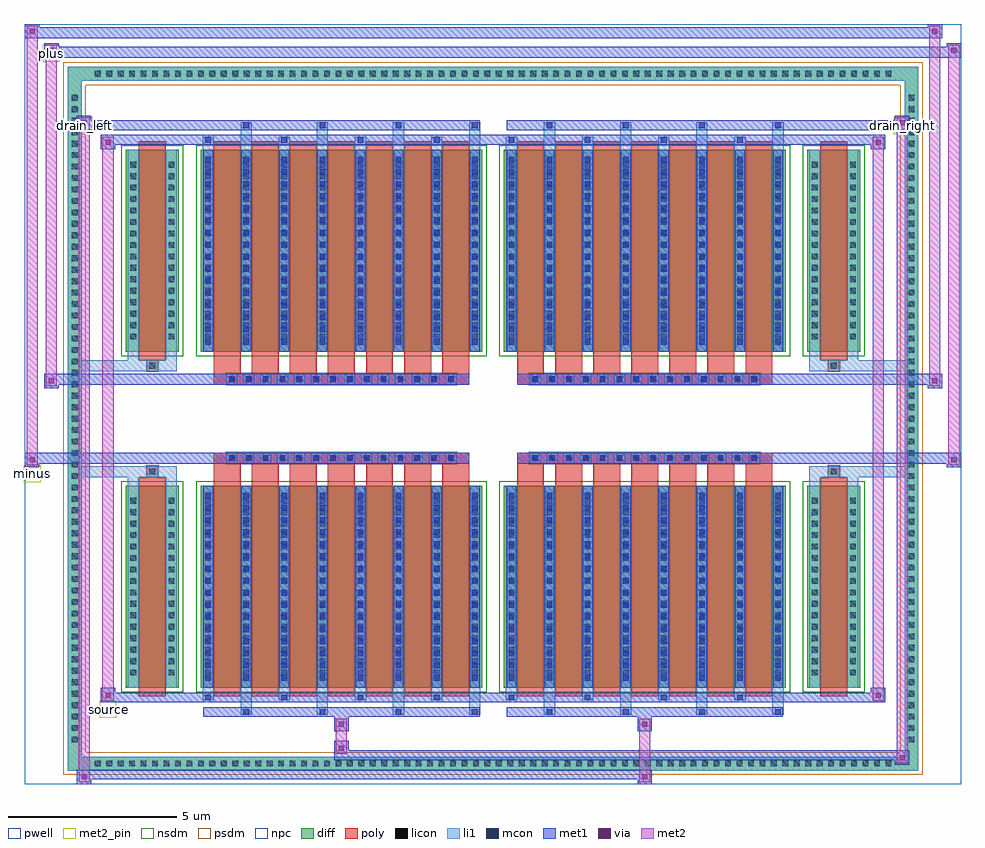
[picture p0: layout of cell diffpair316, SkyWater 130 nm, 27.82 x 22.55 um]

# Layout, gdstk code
import gdstk
lib = gdstk.Library(unit=1e-6, precision=5e-09)
def R(c, l, rs):  # rectangles x0, y0, x1, y1
    for r in rs: c.add(gdstk.rectangle(r[:2], r[2:], *l))
def A(c, l, x, y, w, h, nx, ny, dx, dy):  # array of equal rectangles
    R(c, l, [(x+i*dx, y+j*dy, x+i*dx+w, y+j*dy+h) for i in range(nx) for j in range(ny)])
def P(c, l, *ps):  # polygons
    for p in ps: c.add(gdstk.Polygon(p, *l))
pwell = (64, 44)
diff = (65, 20)
poly = (66, 20)
licon = (66, 44)
li1 = (67, 20)
mcon = (67, 44)
met1 = (68, 20)
via = (68, 44)
met2_pin = (69, 16)
met2 = (69, 20)
nsdm = (93, 44)
psdm = (94, 20)
npc = (95, 20)

diffpair316 = lib.new_cell('diffpair316')
R(diffpair316, pwell, [(-13.89,-10.84,13.89,11.71), (-11.21,-9.03,-0.01,-0.805), (0.01,-9.03,11.21,-0.805), (-11.21,0.805,-0.01,9.03), (0.01,0.805,11.21,9.03)])
A(diffpair316, diff, -11.935, -10.44, 0.41, 0.41, 70, 2, 0.34, 20.47)
A(diffpair316, diff, -12.62, -9.725, 0.41, 0.41, 1, 57, 0, 0.34)
A(diffpair316, diff, 12.21, -9.725, 0.41, 0.41, 1, 57, 0, 0.34)
R(diffpair316, diff, [(-11.935,-10.44,11.935,-10.03), (-12.62,-9.725,-12.21,9.725), (12.21,-9.725,12.62,9.725), (-10.9,-7.985,-9.32,-1.985), (-8.68,-7.985,-0.32,-1.985), (0.32,-7.985,8.68,-1.985), (9.32,-7.985,10.9,-1.985), (-10.9,1.985,-9.32,7.985), (-8.68,1.985,-0.32,7.985), (0.32,1.985,8.68,7.985), (9.32,1.985,10.9,7.985), (-11.935,10.03,11.935,10.44)])
P(diffpair316, diff, [(12.62,10.44),(-12.62,10.44),(-12.62,-10.03),(-12.21,-10.03),(-12.21,10.03),(12.21,10.03),(12.21,-10.03),(-12.21,-10.03),(-12.62,-10.03),(-12.62,-10.44),(12.62,-10.44)])
A(diffpair316, poly, -8.29, -8.235, 0.8, 6.5, 7, 2, 1.13, 9.97)
A(diffpair316, poly, 0.71, -8.235, 0.8, 6.5, 7, 2, 1.13, 9.97)
A(diffpair316, poly, -8.29, -1.735, 0.8, 0.4, 7, 2, 1.13, 3.07)
A(diffpair316, poly, 0.71, -1.735, 0.8, 0.4, 7, 2, 1.13, 3.07)
A(diffpair316, poly, -7.915, -1.335, 0.33, 0.33, 14, 2, 0.5, 2.34)
A(diffpair316, poly, 1.085, -1.335, 0.33, 0.33, 14, 2, 0.5, 2.34)
R(diffpair316, poly, [(-10.51,-8.235,-9.71,-1.735), (9.71,-8.235,10.51,-1.735), (-10.275,-1.735,-9.945,-1.405), (-10.275,-1.735,-9.945,-1.405), (9.945,-1.735,10.275,-1.405), (9.945,-1.735,10.275,-1.405), (-8.29,-1.335,-0.71,-1.005), (0.71,-1.335,8.29,-1.005), (-8.29,1.005,-0.71,1.335), (0.71,1.005,8.29,1.335), (-10.275,1.405,-9.945,1.735), (-10.275,1.405,-9.945,1.735), (9.945,1.405,10.275,1.735), (9.945,1.405,10.275,1.735), (-10.51,1.735,-9.71,8.235), (9.71,1.735,10.51,8.235)])
A(diffpair316, licon, -11.815, -10.32, 0.17, 0.17, 70, 2, 0.34, 20.47)
A(diffpair316, licon, -12.5, -9.605, 0.17, 0.17, 1, 57, 0, 0.34)
A(diffpair316, licon, 12.33, -9.605, 0.17, 0.17, 1, 57, 0, 0.34)
A(diffpair316, licon, -10.76, -7.62, 0.17, 0.17, 1, 16, 0, 0.34)
A(diffpair316, licon, -9.63, -7.62, 0.17, 0.17, 1, 16, 0, 0.34)
A(diffpair316, licon, -8.54, -7.62, 0.17, 0.17, 8, 16, 1.13, 0.34)
A(diffpair316, licon, 0.46, -7.62, 0.17, 0.17, 8, 16, 1.13, 0.34)
A(diffpair316, licon, 9.46, -7.62, 0.17, 0.17, 1, 16, 0, 0.34)
A(diffpair316, licon, 10.59, -7.62, 0.17, 0.17, 1, 16, 0, 0.34)
A(diffpair316, licon, -7.835, -1.255, 0.17, 0.17, 14, 2, 0.5, 2.34)
A(diffpair316, licon, 1.165, -1.255, 0.17, 0.17, 14, 2, 0.5, 2.34)
A(diffpair316, licon, -10.76, 2.35, 0.17, 0.17, 1, 16, 0, 0.34)
A(diffpair316, licon, -9.63, 2.35, 0.17, 0.17, 1, 16, 0, 0.34)
A(diffpair316, licon, -8.54, 2.35, 0.17, 0.17, 8, 16, 1.13, 0.34)
A(diffpair316, licon, 0.46, 2.35, 0.17, 0.17, 8, 16, 1.13, 0.34)
A(diffpair316, licon, 9.46, 2.35, 0.17, 0.17, 1, 16, 0, 0.34)
A(diffpair316, licon, 10.59, 2.35, 0.17, 0.17, 1, 16, 0, 0.34)
R(diffpair316, licon, [(-10.195,-1.655,-10.025,-1.485), (10.025,-1.655,10.195,-1.485), (-10.195,1.485,-10.025,1.655), (10.025,1.485,10.195,1.655)])
A(diffpair316, li1, -11.895, -10.4, 0.33, 0.33, 70, 2, 0.34, 20.47)
A(diffpair316, li1, -12.58, -9.685, 0.33, 0.33, 1, 57, 0, 0.34)
A(diffpair316, li1, 12.25, -9.685, 0.33, 0.33, 1, 57, 0, 0.34)
A(diffpair316, li1, -7.49, -8.79, 0.33, 0.805, 4, 2, 2.26, 16.775)
A(diffpair316, li1, -7.41, -8.79, 0.17, 0.17, 4, 2, 2.26, 17.41)
A(diffpair316, li1, 1.51, -8.79, 0.33, 0.805, 4, 2, 2.26, 16.775)
A(diffpair316, li1, 1.59, -8.79, 0.17, 0.17, 4, 2, 2.26, 17.41)
A(diffpair316, li1, -8.62, -8.36, 0.33, 0.375, 4, 2, 2.26, 16.345)
A(diffpair316, li1, -8.54, -8.36, 0.17, 0.17, 4, 2, 2.26, 16.55)
A(diffpair316, li1, 0.38, -8.36, 0.33, 0.375, 4, 2, 2.26, 16.345)
A(diffpair316, li1, 0.46, -8.36, 0.17, 0.17, 4, 2, 2.26, 16.55)
A(diffpair316, li1, -8.62, -7.985, 0.33, 6, 8, 2, 1.13, 9.97)
A(diffpair316, li1, 0.38, -7.985, 0.33, 6, 8, 2, 1.13, 9.97)
A(diffpair316, li1, -8.54, -7.77, 0.17, 0.17, 8, 16, 1.13, 0.36)
A(diffpair316, li1, -8.54, -7.77, 0.17, 5.57, 8, 2, 1.13, 9.97)
A(diffpair316, li1, 0.46, -7.77, 0.17, 0.17, 8, 16, 1.13, 0.36)
A(diffpair316, li1, 0.46, -7.77, 0.17, 5.57, 8, 2, 1.13, 9.97)
A(diffpair316, li1, -10.84, -7.7, 0.33, 0.33, 1, 16, 0, 0.34)
A(diffpair316, li1, -9.71, -7.7, 0.33, 0.33, 1, 16, 0, 0.34)
A(diffpair316, li1, -8.62, -7.7, 0.33, 0.33, 8, 16, 1.13, 0.34)
A(diffpair316, li1, 0.38, -7.7, 0.33, 0.33, 8, 16, 1.13, 0.34)
A(diffpair316, li1, 9.38, -7.7, 0.33, 0.33, 1, 16, 0, 0.34)
A(diffpair316, li1, 10.51, -7.7, 0.33, 0.33, 1, 16, 0, 0.34)
A(diffpair316, li1, -7.915, -1.335, 0.33, 0.33, 14, 2, 0.5, 2.34)
A(diffpair316, li1, 1.085, -1.335, 0.33, 0.33, 14, 2, 0.5, 2.34)
A(diffpair316, li1, -8.54, 2.2, 0.17, 0.17, 8, 16, 1.13, 0.36)
A(diffpair316, li1, 0.46, 2.2, 0.17, 0.17, 8, 16, 1.13, 0.36)
A(diffpair316, li1, -10.84, 2.27, 0.33, 0.33, 1, 16, 0, 0.34)
A(diffpair316, li1, -9.71, 2.27, 0.33, 0.33, 1, 16, 0, 0.34)
A(diffpair316, li1, -8.62, 2.27, 0.33, 0.33, 8, 16, 1.13, 0.34)
A(diffpair316, li1, 0.38, 2.27, 0.33, 0.33, 8, 16, 1.13, 0.34)
A(diffpair316, li1, 9.38, 2.27, 0.33, 0.33, 1, 16, 0, 0.34)
A(diffpair316, li1, 10.51, 2.27, 0.33, 0.33, 1, 16, 0, 0.34)
R(diffpair316, li1, [(-12.62,-10.44,-12.21,-10.03), (-12.62,-10.44,-12.21,-10.03), (-12.21,-10.44,12.21,-10.03), (12.21,-10.44,12.62,-10.03), (12.21,-10.44,12.62,-10.03), (-12.62,-10.03,-12.21,10.03), (12.21,-10.03,12.62,10.03), (-10.84,-7.985,-10.51,-1.985), (-9.71,-7.985,-9.38,-1.985), (9.38,-7.985,9.71,-1.985), (10.51,-7.985,10.84,-1.985), (-10.84,-1.985,-10.51,-1.405), (-9.71,-1.985,-9.38,-1.405), (9.38,-1.985,9.71,-1.405), (10.51,-1.985,10.84,-1.405), (-12.62,-1.735,-10.275,-1.405), (-10.84,-1.735,-10.275,-1.405), (-10.275,-1.735,-9.945,-1.405), (-9.945,-1.735,-9.38,-1.405), (9.38,-1.735,9.945,-1.405), (9.945,-1.735,10.275,-1.405), (9.945,-1.735,12.62,-1.405), (10.275,-1.735,10.84,-1.405), (-12.62,1.405,-10.275,1.735), (-10.84,1.405,-10.275,1.735), (-10.84,1.405,-10.51,1.985), (-10.275,1.405,-9.945,1.735), (-9.945,1.405,-9.38,1.735), (-9.71,1.405,-9.38,1.985), (9.38,1.405,9.945,1.735), (9.38,1.405,9.71,1.985), (9.945,1.405,10.275,1.735), (9.945,1.405,12.62,1.735), (10.275,1.405,10.84,1.735), (10.51,1.405,10.84,1.985), (-10.84,1.985,-10.51,7.985), (-9.71,1.985,-9.38,7.985), (9.38,1.985,9.71,7.985), (10.51,1.985,10.84,7.985), (-12.62,10.03,-12.21,10.44), (-12.62,10.03,-12.21,10.44), (-12.21,10.03,12.21,10.44), (12.21,10.03,12.62,10.44), (12.21,10.03,12.62,10.44)])
A(diffpair316, mcon, -7.41, -8.79, 0.17, 0.17, 4, 2, 2.26, 17.41)
A(diffpair316, mcon, 1.59, -8.79, 0.17, 0.17, 4, 2, 2.26, 17.41)
A(diffpair316, mcon, -8.54, -8.36, 0.17, 0.17, 4, 2, 2.26, 16.55)
A(diffpair316, mcon, 0.46, -8.36, 0.17, 0.17, 4, 2, 2.26, 16.55)
A(diffpair316, mcon, -8.54, -7.77, 0.17, 0.17, 8, 16, 1.13, 0.36)
A(diffpair316, mcon, 0.46, -7.77, 0.17, 0.17, 8, 16, 1.13, 0.36)
A(diffpair316, mcon, -7.835, -1.255, 0.17, 0.17, 14, 2, 0.5, 2.34)
A(diffpair316, mcon, 1.165, -1.255, 0.17, 0.17, 14, 2, 0.5, 2.34)
A(diffpair316, mcon, -8.54, 2.2, 0.17, 0.17, 8, 16, 1.13, 0.36)
A(diffpair316, mcon, 0.46, 2.2, 0.17, 0.17, 8, 16, 1.13, 0.36)
A(diffpair316, met1, -7.47, -8.85, 0.29, 0.29, 4, 2, 2.26, 17.41)
A(diffpair316, met1, 1.53, -8.85, 0.29, 0.29, 4, 2, 2.26, 17.41)
A(diffpair316, met1, -8.6, -8.42, 0.29, 0.29, 4, 2, 2.26, 16.55)
A(diffpair316, met1, 0.4, -8.42, 0.29, 0.29, 4, 2, 2.26, 16.55)
A(diffpair316, met1, -8.6, -7.985, 0.29, 6, 8, 2, 1.13, 9.97)
A(diffpair316, met1, 0.4, -7.985, 0.29, 6, 8, 2, 1.13, 9.97)
A(diffpair316, met1, -8.6, -7.83, 0.29, 0.29, 8, 16, 1.13, 0.36)
A(diffpair316, met1, 0.4, -7.83, 0.29, 0.29, 8, 16, 1.13, 0.36)
A(diffpair316, met1, -7.895, -1.315, 0.29, 0.29, 14, 2, 0.5, 2.34)
A(diffpair316, met1, 1.105, -1.315, 0.29, 0.29, 14, 2, 0.5, 2.34)
A(diffpair316, met1, -8.6, 2.14, 0.29, 0.29, 8, 16, 1.13, 0.36)
A(diffpair316, met1, 0.4, 2.14, 0.29, 0.29, 8, 16, 1.13, 0.36)
R(diffpair316, met1, [(-12.35,-10.84,-11.92,-10.41), (4.285,-10.84,4.715,-10.41), (-12.35,-10.7,4.715,-10.41), (11.92,-10.27,12.35,-9.84), (-4.715,-10.13,12.35,-9.84), (-4.715,-9.99,-4.285,-9.56), (-4.715,-9.28,-4.285,-8.85), (4.285,-9.28,4.715,-8.85), (-8.6,-8.85,-0.4,-8.56), (0.4,-8.85,8.6,-8.56), (-11.64,-8.42,-11.21,-7.99), (-11.64,-8.42,-8.6,-8.13), (-8.6,-8.42,-0.4,-8.13), (-0.4,-8.42,0.4,-8.13), (0.4,-8.42,8.6,-8.13), (8.6,-8.42,11.64,-8.13), (11.21,-8.42,11.64,-7.99), (-13.89,-1.435,-13.46,-1.005), (13.46,-1.435,13.89,-1.005), (-13.89,-1.335,-0.71,-1.005), (-8.29,-1.335,-0.71,-1.005), (0.71,-1.335,8.29,-1.005), (0.71,-1.335,13.89,-1.005), (-13.32,0.905,-12.89,1.335), (12.89,0.905,13.32,1.335), (-13.32,1.005,-8.29,1.335), (-8.29,1.005,-0.71,1.335), (0.71,1.005,8.29,1.335), (8.29,1.005,13.32,1.335), (-11.64,7.99,-11.21,8.42), (11.21,7.99,11.64,8.42), (-11.64,8.13,-8.6,8.42), (-8.6,8.13,-0.4,8.42), (-0.4,8.13,0.4,8.42), (0.4,8.13,8.6,8.42), (8.6,8.13,11.64,8.42), (-12.35,8.56,-11.92,8.99), (-12.35,8.56,-8.6,8.85), (-8.6,8.56,-0.4,8.85), (0.4,8.56,8.6,8.85), (8.6,8.56,12.35,8.85), (11.92,8.56,12.35,8.99), (-13.32,10.71,-12.89,11.14), (-13.32,10.71,-11.21,11.04), (-11.21,10.71,11.21,11.04), (11.21,10.71,13.89,11.04), (13.46,10.71,13.89,11.14), (-13.89,11.28,-13.46,11.71), (-13.89,11.28,-11.21,11.61), (-11.21,11.28,11.21,11.61), (11.21,11.28,13.32,11.61), (12.89,11.28,13.32,11.71)])
R(diffpair316, via, [(-12.21,-10.7,-12.06,-10.55), (4.425,-10.7,4.575,-10.55), (12.06,-10.13,12.21,-9.98), (-4.575,-9.85,-4.425,-9.7), (-4.575,-9.14,-4.425,-8.99), (4.425,-9.14,4.575,-8.99), (-11.5,-8.28,-11.35,-8.13), (11.35,-8.28,11.5,-8.13), (-13.75,-1.295,-13.6,-1.145), (13.6,-1.295,13.75,-1.145), (-13.18,1.045,-13.03,1.195), (13.03,1.045,13.18,1.195), (-11.5,8.13,-11.35,8.28), (11.35,8.13,11.5,8.28), (-12.21,8.7,-12.06,8.85), (12.06,8.7,12.21,8.85), (-13.18,10.85,-13.03,11), (13.6,10.85,13.75,11), (-13.75,11.42,-13.6,11.57), (13.03,11.42,13.18,11.57)])
R(diffpair316, met2_pin, [(-11.675,-8.87,-11.175,-8.37), (-13.925,-1.885,-13.425,-1.385), (-12.385,8.44,-11.885,8.94), (11.885,8.44,12.385,8.94), (-13.355,10.59,-12.855,11.09)])
R(diffpair316, met2, [(-12.3,-10.79,-11.97,-10.46), (-12.3,-10.79,-11.97,8.94), (4.335,-10.79,4.665,-10.46), (4.335,-10.46,4.665,-9.23), (11.97,-10.22,12.3,-9.89), (11.97,-10.22,12.3,8.94), (-4.665,-9.94,-4.335,-9.61), (-4.665,-9.61,-4.335,-9.23), (-4.665,-9.23,-4.335,-8.9), (4.335,-9.23,4.665,-8.9), (-11.59,-8.37,-11.26,-8.04), (-11.59,-8.37,-11.26,8.37), (11.26,-8.37,11.59,-8.04), (11.26,-8.37,11.59,8.37), (-13.84,-1.385,-13.51,-1.055), (-13.84,-1.385,-13.51,11.66), (13.51,-1.385,13.84,-1.055), (13.51,-1.385,13.84,11.09), (-13.27,0.955,-12.94,1.285), (-13.27,0.955,-12.94,11.09), (12.94,0.955,13.27,1.285), (12.94,0.955,13.27,11.66), (-11.59,8.04,-11.26,8.37), (11.26,8.04,11.59,8.37), (-12.3,8.61,-11.97,8.94), (11.97,8.61,12.3,8.94), (-13.27,10.76,-12.94,11.09), (13.51,10.76,13.84,11.09), (-13.84,11.33,-13.51,11.66), (12.94,11.33,13.27,11.66)])
P(diffpair316, met2, [(13.84,-1.385),(13.84,-1.385),(13.84,-1.055),(13.84,-1.055)],
  [(13.84,10.76),(13.84,10.76),(13.84,11.09),(13.84,11.09)],
  [(-13.51,-1.385),(-13.51,-1.385),(-13.51,-1.055),(-13.51,-1.055)],
  [(-13.51,11.33),(-13.51,11.33),(-13.51,11.66),(-13.51,11.66)],
  [(13.27,0.955),(13.27,0.955),(13.27,1.285),(13.27,1.285)],
  [(13.27,11.33),(13.27,11.33),(13.27,11.66),(13.27,11.66)],
  [(-12.94,0.955),(-12.94,0.955),(-12.94,1.285),(-12.94,1.285)],
  [(-12.94,10.76),(-12.94,10.76),(-12.94,11.09),(-12.94,11.09)],
  [(-11.97,-10.79),(-11.97,-10.79),(-11.97,-10.46),(-11.97,-10.46)],
  [(-11.97,8.61),(-11.97,8.61),(-11.97,8.94),(-11.97,8.94)],
  [(12.3,-10.22),(12.3,-10.22),(12.3,-9.89),(12.3,-9.89)],
  [(12.3,8.61),(12.3,8.61),(12.3,8.94),(12.3,8.94)],
  [(-11.26,-8.37),(-11.26,-8.37),(-11.26,-8.04),(-11.26,-8.04)],
  [(-11.26,8.04),(-11.26,8.04),(-11.26,8.37),(-11.26,8.37)],
  [(11.59,-8.37),(11.59,-8.37),(11.59,-8.04),(11.59,-8.04)],
  [(11.59,8.04),(11.59,8.04),(11.59,8.37),(11.59,8.37)])
R(diffpair316, nsdm, [(-11.03,-8.115,-9.19,-1.855), (-8.81,-8.115,-0.19,-1.855), (0.19,-8.115,8.81,-1.855), (9.19,-8.115,11.03,-1.855), (-11.03,1.855,-9.19,8.115), (-8.81,1.855,-0.19,8.115), (0.19,1.855,8.81,8.115), (9.19,1.855,11.03,8.115)])
P(diffpair316, psdm, [(12.75,10.57),(-12.75,10.57),(-12.75,-9.9),(-12.08,-9.9),(-12.08,9.9),(12.08,9.9),(12.08,-9.9),(-12.08,-9.9),(-12.75,-9.9),(-12.75,-10.57),(12.75,-10.57)])
A(diffpair316, npc, -7.935, -1.355, 0.37, 0.37, 14, 2, 0.5, 2.34)
A(diffpair316, npc, 1.065, -1.355, 0.37, 0.37, 14, 2, 0.5, 2.34)
R(diffpair316, npc, [(-10.295,-1.755,-9.925,-1.385), (9.925,-1.755,10.295,-1.385), (-7.935,-1.355,-7.065,-0.985), (-7.935,-1.355,-7.065,-0.985), (-7.435,-1.355,-6.565,-0.985), (-7.435,-1.355,-6.565,-0.985), (-6.935,-1.355,-6.065,-0.985), (-6.935,-1.355,-6.065,-0.985), (-6.435,-1.355,-5.565,-0.985), (-6.435,-1.355,-5.565,-0.985), (-5.935,-1.355,-5.065,-0.985), (-5.935,-1.355,-5.065,-0.985), (-5.435,-1.355,-4.565,-0.985), (-5.435,-1.355,-4.565,-0.985), (-4.935,-1.355,-4.065,-0.985), (-4.935,-1.355,-4.065,-0.985), (-4.435,-1.355,-3.565,-0.985), (-4.435,-1.355,-3.565,-0.985), (-3.935,-1.355,-3.065,-0.985), (-3.935,-1.355,-3.065,-0.985), (-3.435,-1.355,-2.565,-0.985), (-3.435,-1.355,-2.565,-0.985), (-2.935,-1.355,-2.065,-0.985), (-2.935,-1.355,-2.065,-0.985), (-2.435,-1.355,-1.565,-0.985), (-2.435,-1.355,-1.565,-0.985), (-1.935,-1.355,-1.065,-0.985), (-1.935,-1.355,-1.065,-0.985), (1.065,-1.355,1.935,-0.985), (1.065,-1.355,1.935,-0.985), (1.565,-1.355,2.435,-0.985), (1.565,-1.355,2.435,-0.985), (2.065,-1.355,2.935,-0.985), (2.065,-1.355,2.935,-0.985), (2.565,-1.355,3.435,-0.985), (2.565,-1.355,3.435,-0.985), (3.065,-1.355,3.935,-0.985), (3.065,-1.355,3.935,-0.985), (3.565,-1.355,4.435,-0.985), (3.565,-1.355,4.435,-0.985), (4.065,-1.355,4.935,-0.985), (4.065,-1.355,4.935,-0.985), (4.565,-1.355,5.435,-0.985), (4.565,-1.355,5.435,-0.985), (5.065,-1.355,5.935,-0.985), (5.065,-1.355,5.935,-0.985), (5.565,-1.355,6.435,-0.985), (5.565,-1.355,6.435,-0.985), (6.065,-1.355,6.935,-0.985), (6.065,-1.355,6.935,-0.985), (6.565,-1.355,7.435,-0.985), (6.565,-1.355,7.435,-0.985), (7.065,-1.355,7.935,-0.985), (7.065,-1.355,7.935,-0.985), (-7.935,0.985,-7.065,1.355), (-7.935,0.985,-7.065,1.355), (-7.435,0.985,-6.565,1.355), (-7.435,0.985,-6.565,1.355), (-6.935,0.985,-6.065,1.355), (-6.935,0.985,-6.065,1.355), (-6.435,0.985,-5.565,1.355), (-6.435,0.985,-5.565,1.355), (-5.935,0.985,-5.065,1.355), (-5.935,0.985,-5.065,1.355), (-5.435,0.985,-4.565,1.355), (-5.435,0.985,-4.565,1.355), (-4.935,0.985,-4.065,1.355), (-4.935,0.985,-4.065,1.355), (-4.435,0.985,-3.565,1.355), (-4.435,0.985,-3.565,1.355), (-3.935,0.985,-3.065,1.355), (-3.935,0.985,-3.065,1.355), (-3.435,0.985,-2.565,1.355), (-3.435,0.985,-2.565,1.355), (-2.935,0.985,-2.065,1.355), (-2.935,0.985,-2.065,1.355), (-2.435,0.985,-1.565,1.355), (-2.435,0.985,-1.565,1.355), (-1.935,0.985,-1.065,1.355), (-1.935,0.985,-1.065,1.355), (1.065,0.985,1.935,1.355), (1.065,0.985,1.935,1.355), (1.565,0.985,2.435,1.355), (1.565,0.985,2.435,1.355), (2.065,0.985,2.935,1.355), (2.065,0.985,2.935,1.355), (2.565,0.985,3.435,1.355), (2.565,0.985,3.435,1.355), (3.065,0.985,3.935,1.355), (3.065,0.985,3.935,1.355), (3.565,0.985,4.435,1.355), (3.565,0.985,4.435,1.355), (4.065,0.985,4.935,1.355), (4.065,0.985,4.935,1.355), (4.565,0.985,5.435,1.355), (4.565,0.985,5.435,1.355), (5.065,0.985,5.935,1.355), (5.065,0.985,5.935,1.355), (5.565,0.985,6.435,1.355), (5.565,0.985,6.435,1.355), (6.065,0.985,6.935,1.355), (6.065,0.985,6.935,1.355), (6.565,0.985,7.435,1.355), (6.565,0.985,7.435,1.355), (7.065,0.985,7.935,1.355), (7.065,0.985,7.935,1.355), (-10.295,1.385,-9.925,1.755), (9.925,1.385,10.295,1.755)])
diffpair316.add(gdstk.Label('minus', (-13.675,-1.635), layer=69, texttype=5))
diffpair316.add(gdstk.Label('drain_right', (12.135,8.69), layer=69, texttype=5))
diffpair316.add(gdstk.Label('drain_left', (-12.135,8.69), layer=69, texttype=5))
diffpair316.add(gdstk.Label('source', (-11.425,-8.62), layer=69, texttype=5))
diffpair316.add(gdstk.Label('plus', (-13.105,10.84), layer=69, texttype=5))

lib.write_gds('diffpair316.gds')
